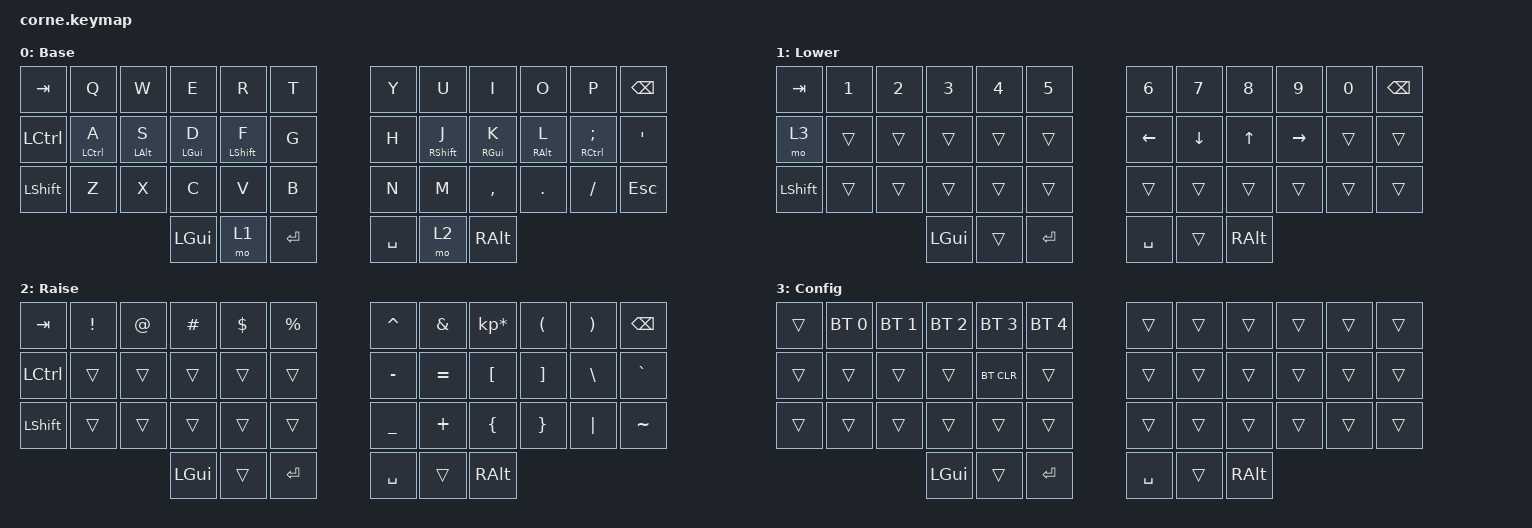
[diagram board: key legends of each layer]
/*
 * Copyright (c) 2020 The ZMK Contributors
 *
 * SPDX-License-Identifier: MIT
 */

#include <behaviors.dtsi>
#include <dt-bindings/zmk/keys.h>
#include <dt-bindings/zmk/bt.h>

/ {
        keymap {
                compatible = "zmk,keymap";

                default_layer {
                        display-name = "Base";
// CAGS home row mods. More friendly for macOS. Swap these around for GACS for better Windows, Linux, BSD support.
// See https://precondition.github.io/home-row-mods
                        bindings = <
&kp TAB   &kp Q       &kp W      &kp E       &kp R       &kp T   &kp Y     &kp U           &kp I       &kp O      &kp P          &kp BSPC
&kp LCTRL &mt LCTRL A &mt LALT S &mt LGUI  D &mt LSHFT F &kp G   &kp H     &mt RSHFT J     &mt RGUI  K &mt RALT L &mt RCTRL SEMI &kp SQT
&kp LSHFT &kp Z       &kp X      &kp C       &kp V       &kp B   &kp N     &kp M           &kp COMMA   &kp DOT    &kp FSLH       &kp ESC
                                &kp LGUI     &mo 1       &kp RET &kp SPACE &mo 2           &kp RALT
                        >;
                };


                lower_layer {
// -----------------------------------------------------------------------------------------
// |  TAB |  1  |  2  |  3  |  4  |  5  |   |  6  |  7  |  8  |  9  |  0  | BKSP |
// |  CFG |     |     |     |     |     |   | LFT | DWN |  UP | RGT |     |      |
// | SHFT |     |     |     |     |     |   |     |     |     |     |     |      |
//                    | GUI |     | SPC |   | ENT |     | ALT |
                        display-name = "Lower";
                        bindings = <
   &kp TAB    &kp N1       &kp N2       &kp N3       &kp N4       &kp N5         &kp N6   &kp N7   &kp N8 &kp N9    &kp N0 &kp BSPC
   &mo 3      &trans       &trans       &trans       &trans       &trans         &kp LEFT &kp DOWN &kp UP &kp RIGHT &trans &trans
   &kp LSHFT  &trans       &trans       &trans       &trans       &trans         &trans   &trans   &trans &trans    &trans &trans
                                        &kp LGUI     &trans       &kp RET        &kp SPACE  &trans   &kp RALT
                        >;
                };


                raise_layer {
// -----------------------------------------------------------------------------------------
// |  TAB |  !  |  @  |  #  |  $  |  %  |   |  ^  |  &  |  *  |  (  |  )  | BKSP |
// | CTRL |     |     |     |     |     |   |  -  |  =  |  [  |  ]  |  \  |  `   |
// | SHFT |     |     |     |     |     |   |  _  |  +  |  {  |  }  | "|" |  ~   |
//                    | GUI |     | ENT |   | SPC |     | ALT |
                        display-name = "Raise";
                        bindings = <
   &kp  TAB  &kp EXCL &kp AT &kp HASH &kp DLLR &kp PRCNT   &kp CARET &kp AMPS  &kp KP_MULTIPLY &kp LPAR &kp RPAR &kp BSPC
   &kp LCTRL &trans   &trans &trans   &trans   &trans      &kp MINUS &kp EQUAL &kp LBKT        &kp RBKT &kp BSLH &kp GRAVE
   &kp LSHFT &trans   &trans &trans   &trans   &trans      &kp UNDER &kp PLUS  &kp LBRC        &kp RBRC &kp PIPE &kp TILDE
                             &kp LGUI &trans   &kp RET     &kp SPACE   &trans    &kp RALT
                        >;
                };


                config_layer {
                        display-name = "Config";
                        bindings = <
   &trans     &bt BT_SEL 0 &bt BT_SEL 1 &bt BT_SEL 2 &bt BT_SEL 3 &bt BT_SEL 4 &trans &trans &trans &trans &trans &trans
   &trans     &trans       &trans       &trans       &bt BT_CLR   &trans       &trans &trans &trans &trans &trans &trans
   &trans     &trans       &trans       &trans       &trans       &trans       &trans &trans &trans &trans &trans &trans
                             &kp LGUI &trans   &kp RET     &kp SPACE   &trans  &kp RALT
                        >;
                };
        };
};
